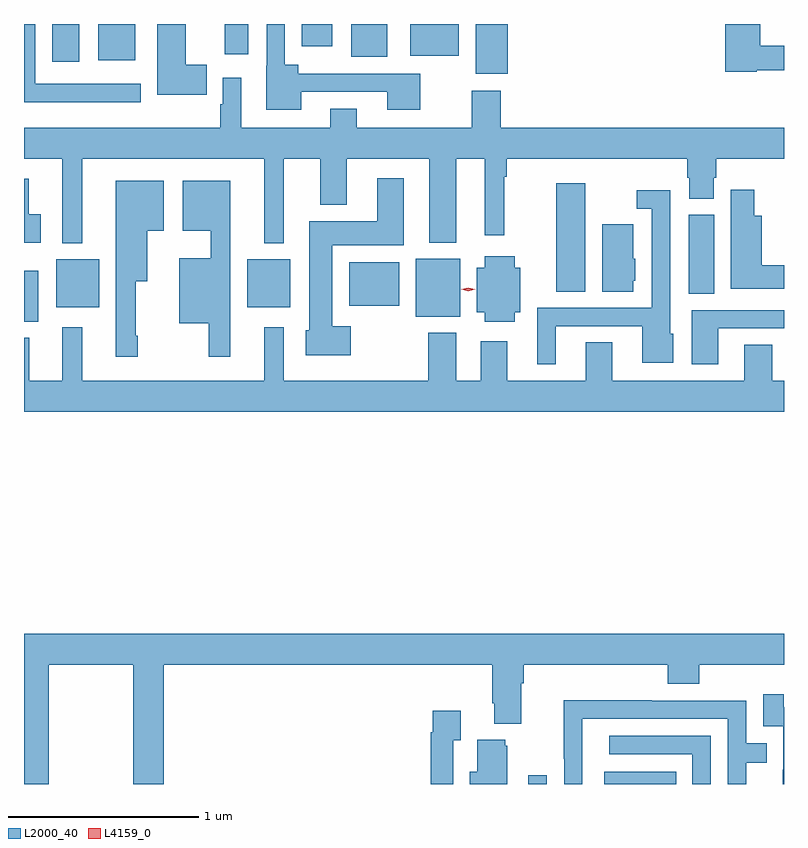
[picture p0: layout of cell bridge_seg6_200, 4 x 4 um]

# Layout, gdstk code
import gdstk
lib = gdstk.Library(unit=1e-6, precision=1e-09)
def R(c, l, rs):  # rectangles x0, y0, x1, y1
    for r in rs: c.add(gdstk.rectangle(r[:2], r[2:], *l))
def P(c, l, *ps):  # polygons
    for p in ps: c.add(gdstk.Polygon(p, *l))
L2000_40 = (2000, 40)
L4159_0 = (4159, 0)

bridge_seg6_200 = lib.new_cell('bridge_seg6_200')
R(bridge_seg6_200, L2000_40, [(196.041,958.697,196.137,958.744), (196.442,958.697,196.82,958.762), (193.387,961.13,193.462,961.399), (195.449,961.157,195.682,961.462), (193.556,961.205,193.783,961.459), (194.561,961.205,194.788,961.459), (195.098,961.214,195.361,961.444), (196.886,961.276,197.02,961.692), (196.187,961.288,196.342,961.858), (195.764,962.435,195.932,962.697), (193.535,962.499,193.678,962.697), (193.778,962.507,193.972,962.697), (195.11,962.525,195.298,962.697), (195.419,962.531,195.676,962.697), (194.444,962.538,194.566,962.697), (194.849,962.58,195.01,962.697)])
P(bridge_seg6_200, L2000_40, [(194.002,962.382),(193.446,962.382),(193.446,962.697),(193.387,962.697),(193.387,962.285),(194.002,962.285)],
  [(194.348,962.482),(194.239,962.482),(194.239,962.697),(194.088,962.697),(194.088,962.6),(194.087,962.6),(194.087,962.324),(194.348,962.324)],
  [(194.845,962.34),(195.299,962.34),(195.299,962.246),(195.472,962.246),(195.472,962.436),(194.83,962.436),(194.83,962.482),(194.76,962.482),(194.76,962.697),(194.664,962.697),(194.664,962.478),(194.663,962.478),(194.663,962.246),(194.845,962.246)],
  [(197.244,962.454),(197.387,962.454),(197.387,962.582),(197.261,962.582),(197.261,962.697),(197.078,962.697),(197.078,962.446),(197.244,962.446)],
  [(195.812,961.584),(195.914,961.584),(195.914,961.892),(195.929,961.892),(195.929,961.988),(196.877,961.988),(196.877,961.887),(196.889,961.887),(196.889,961.777),(197.017,961.777),(197.017,961.887),(197.03,961.887),(197.03,961.988),(197.387,961.988),(197.387,962.152),(195.896,962.152),(195.896,962.347),(195.743,962.347),(195.743,962.152),(195.139,962.152),(195.139,962.251),(194.999,962.251),(194.999,962.152),(194.53,962.152),(194.53,962.413),(194.433,962.413),(194.433,962.274),(194.421,962.274),(194.421,962.152),(193.387,962.152),(193.387,961.988),(193.589,961.988),(193.589,961.544),(193.693,961.544),(193.693,961.988),(194.651,961.988),(194.651,961.544),(194.755,961.544),(194.755,961.988),(194.945,961.988),(194.945,961.745),(195.085,961.745),(195.085,961.988),(195.521,961.988),(195.521,961.547),(195.661,961.547),(195.661,961.988),(195.812,961.988)],
  [(195.106,961.105),(195.01,961.105),(195.01,961.532),(195.385,961.532),(195.385,961.885),(195.245,961.885),(195.245,961.66),(194.888,961.66),(194.888,961.086),(194.87,961.086),(194.87,960.953),(195.106,960.953)],
  [(193.474,961.695),(193.411,961.695),(193.411,961.882),(193.387,961.882),(193.387,961.547),(193.474,961.547)],
  [(193.985,961.057),(193.975,961.057),(193.975,961.343),(194.035,961.343),(194.035,961.61),(194.122,961.61),(194.122,961.873),(193.871,961.873),(193.871,960.945),(193.985,960.945)],
  [(194.473,961.873),(194.222,961.873),(194.222,961.61),(194.369,961.61),(194.369,961.465),(194.204,961.465),(194.204,961.121),(194.359,961.121),(194.359,960.945),(194.473,960.945)],
  [(197.387,961.426),(197.269,961.426),(197.269,961.687),(197.23,961.687),(197.23,961.825),(197.108,961.825),(197.108,961.304),(197.387,961.304)],
  [(196.186,961.107),(196.64,961.107),(196.64,960.914),(196.804,960.914),(196.804,961.068),(196.788,961.068),(196.788,961.822),(196.611,961.822),(196.611,961.725),(196.692,961.725),(196.692,961.203),(196.088,961.203),(196.088,960.906),(196.186,960.906)],
  [(196.594,961.347),(196.603,961.347),(196.603,961.461),(196.594,961.461),(196.594,961.642),(196.43,961.642),(196.43,961.288),(196.594,961.288)],
  [(195.97,961.181),(196,961.181),(196,961.414),(195.97,961.414),(195.97,961.474),(195.812,961.474),(195.812,961.414),(195.77,961.414),(195.77,961.181),(195.812,961.181),(195.812,961.13),(195.97,961.13)],
  [(197.041,961.095),(197.387,961.095),(197.387,961.191),(196.901,961.191),(196.901,960.906),(197.041,960.906)],
  [(194.651,961.102),(194.651,960.82),(193.693,960.82),(193.693,961.102),(193.589,961.102),(193.589,960.82),(193.414,960.82),(193.414,961.045),(193.387,961.045),(193.387,960.656),(197.387,960.656),(197.387,960.82),(197.325,960.82),(197.325,961.01),(197.177,961.01),(197.177,960.82),(196.483,960.82),(196.483,961.022),(196.343,961.022),(196.343,960.82),(195.931,960.82),(195.931,961.027),(195.791,961.027),(195.791,960.82),(195.661,960.82),(195.661,961.072),(195.514,961.072),(195.514,960.82),(194.755,960.82),(194.755,961.102)],
  [(193.518,959.324),(193.963,959.324),(193.963,958.697),(194.123,958.697),(194.123,959.324),(195.851,959.324),(195.851,959.122),(195.863,959.122),(195.863,959.015),(196.003,959.015),(196.003,959.228),(196.016,959.228),(196.016,959.324),(196.775,959.324),(196.775,959.225),(196.94,959.225),(196.94,959.324),(197.387,959.324),(197.387,959.488),(193.387,959.488),(193.387,958.697),(193.518,958.697)],
  [(197.387,959.1),(197.386,959.1),(197.386,959.17),(197.277,959.17),(197.277,959.001),(197.382,959.001),(197.382,958.772),(197.381,958.772),(197.381,958.697),(197.387,958.697)],
  [(196.326,959.04),(197.091,959.04),(197.091,958.697),(197.187,958.697),(197.187,958.81),(197.297,958.81),(197.297,958.911),(197.187,958.911),(197.187,959.136),(196.691,959.136),(196.691,959.138),(196.228,959.138),(196.228,958.831),(196.23,958.831),(196.23,958.697),(196.326,958.697)],
  [(195.645,958.927),(195.685,958.927),(195.685,959.083),(195.537,959.083),(195.537,958.97),(195.529,958.97),(195.529,958.697),(195.645,958.697)],
  [(197.001,958.95),(196.467,958.95),(196.467,958.854),(196.905,958.854),(196.905,958.697),(197.001,958.697)],
  [(195.931,958.899),(195.92,958.899),(195.92,958.93),(195.773,958.93),(195.773,958.762),(195.734,958.762),(195.734,958.697),(195.931,958.697)])
P(bridge_seg6_200, L4159_0, [(195.725,961.29),(195.688,961.3),(195.688,961.3),(195.688,961.3),(195.725,961.31),(195.763,961.301),(195.763,961.3),(195.763,961.3)])

lib.write_gds('bridge_seg6_200.gds')
